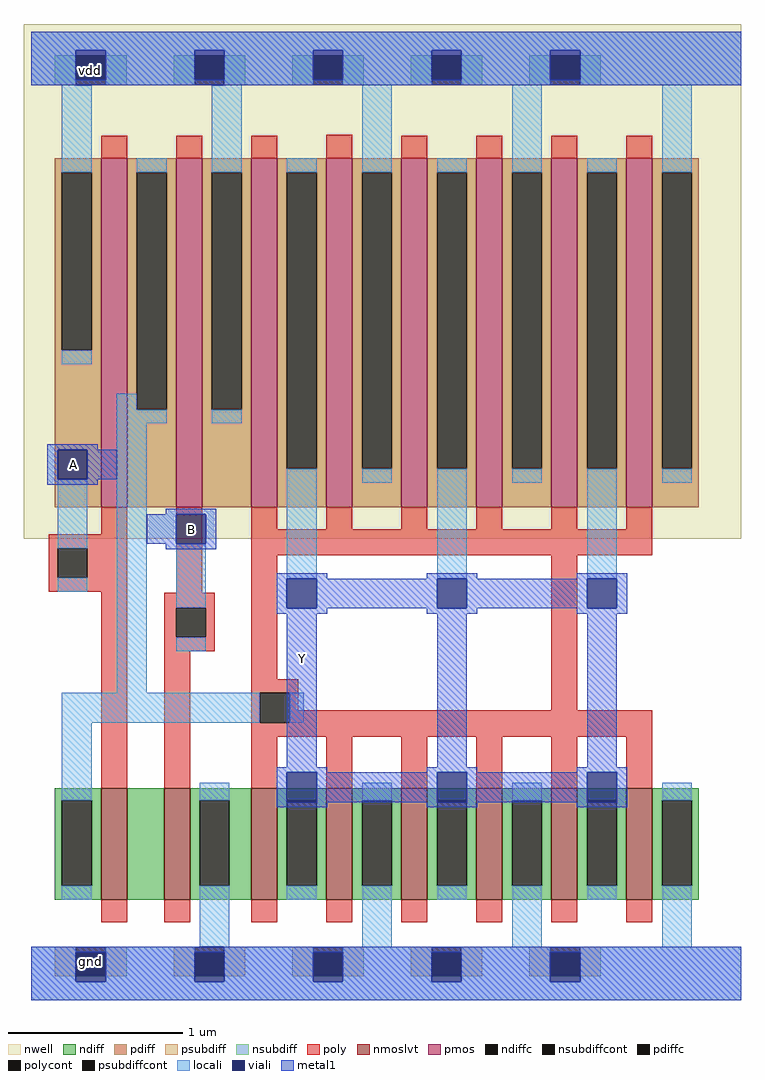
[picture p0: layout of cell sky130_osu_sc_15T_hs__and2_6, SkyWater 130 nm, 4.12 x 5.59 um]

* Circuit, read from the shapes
.subckt sky130_osu_sc_15T_hs__and2_6 B A Y
XM1 n1 A n2 gnd sky130_fd_pr__nfet_01v8_lvt w=0.64 l=0.15
XM2 gnd B n1 gnd sky130_fd_pr__nfet_01v8_lvt w=0.64 l=0.15
XM3 Y n2 gnd gnd sky130_fd_pr__nfet_01v8_lvt w=0.64 l=0.15 m=6
XM4 n2 A vdd vdd sky130_fd_pr__pfet_01v8 w=2 l=0.15
XM5 vdd B n2 vdd sky130_fd_pr__pfet_01v8 w=2 l=0.15
XM6 Y n2 vdd vdd sky130_fd_pr__pfet_01v8 w=2 l=0.15 m=6
.ends

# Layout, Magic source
magic
tech sky130A
magscale 1 2
<< nwell >>
rect -9 529 814 1119
<< pmos >>
rect 80 565 110 965
rect 166 565 196 965
rect 252 565 282 965
rect 338 565 368 965
rect 424 565 454 965
rect 510 565 540 965
rect 596 565 626 965
rect 682 565 712 965
<< nmoslvt >>
rect 80 115 110 243
rect 152 115 182 243
rect 252 115 282 243
rect 338 115 368 243
rect 424 115 454 243
rect 510 115 540 243
rect 596 115 626 243
rect 682 115 712 243
<< ndiff >>
rect 27 229 80 243
rect 27 131 35 229
rect 69 131 80 229
rect 27 115 80 131
rect 110 115 152 243
rect 182 229 252 243
rect 182 131 193 229
rect 227 131 252 229
rect 182 115 252 131
rect 282 229 338 243
rect 282 131 293 229
rect 327 131 338 229
rect 282 115 338 131
rect 368 229 424 243
rect 368 131 379 229
rect 413 131 424 229
rect 368 115 424 131
rect 454 229 510 243
rect 454 131 465 229
rect 499 131 510 229
rect 454 115 510 131
rect 540 229 596 243
rect 540 131 551 229
rect 585 131 596 229
rect 540 115 596 131
rect 626 229 682 243
rect 626 131 637 229
rect 671 131 682 229
rect 626 115 682 131
rect 712 229 765 243
rect 712 131 723 229
rect 757 131 765 229
rect 712 115 765 131
<< pdiff >>
rect 27 949 80 965
rect 27 745 35 949
rect 69 745 80 949
rect 27 565 80 745
rect 110 949 166 965
rect 110 677 121 949
rect 155 677 166 949
rect 110 565 166 677
rect 196 949 252 965
rect 196 677 207 949
rect 241 677 252 949
rect 196 565 252 677
rect 282 949 338 965
rect 282 609 293 949
rect 327 609 338 949
rect 282 565 338 609
rect 368 949 424 965
rect 368 609 379 949
rect 413 609 424 949
rect 368 565 424 609
rect 454 949 510 965
rect 454 609 465 949
rect 499 609 510 949
rect 454 565 510 609
rect 540 949 596 965
rect 540 609 551 949
rect 585 609 596 949
rect 540 565 596 609
rect 626 949 682 965
rect 626 609 637 949
rect 671 609 682 949
rect 626 565 682 609
rect 712 949 765 965
rect 712 609 723 949
rect 757 609 765 949
rect 712 565 765 609
<< ndiffc >>
rect 35 131 69 229
rect 193 131 227 229
rect 293 131 327 229
rect 379 131 413 229
rect 465 131 499 229
rect 551 131 585 229
rect 637 131 671 229
rect 723 131 757 229
<< pdiffc >>
rect 35 745 69 949
rect 121 677 155 949
rect 207 677 241 949
rect 293 609 327 949
rect 379 609 413 949
rect 465 609 499 949
rect 551 609 585 949
rect 637 609 671 949
rect 723 609 757 949
<< psubdiff >>
rect 27 27 51 61
rect 85 27 109 61
rect 163 27 187 61
rect 221 27 245 61
rect 299 27 323 61
rect 357 27 381 61
rect 435 27 459 61
rect 493 27 517 61
rect 571 27 595 61
rect 629 27 653 61
<< nsubdiff >>
rect 27 1049 51 1083
rect 85 1049 109 1083
rect 163 1049 187 1083
rect 221 1049 245 1083
rect 299 1049 323 1083
rect 357 1049 381 1083
rect 435 1049 459 1083
rect 493 1049 517 1083
rect 571 1049 595 1083
rect 629 1049 653 1083
<< psubdiffcont >>
rect 51 27 85 61
rect 187 27 221 61
rect 323 27 357 61
rect 459 27 493 61
rect 595 27 629 61
<< nsubdiffcont >>
rect 51 1049 85 1083
rect 187 1049 221 1083
rect 323 1049 357 1083
rect 459 1049 493 1083
rect 595 1049 629 1083
<< poly >>
rect 80 965 110 991
rect 166 965 196 991
rect 252 965 282 991
rect 338 965 368 992
rect 424 965 454 991
rect 510 965 540 991
rect 596 965 626 991
rect 682 965 712 991
rect 80 534 110 565
rect 20 518 110 534
rect 20 484 30 518
rect 64 484 110 518
rect 20 468 110 484
rect 80 243 110 468
rect 166 467 196 565
rect 252 540 282 565
rect 338 540 368 565
rect 424 540 454 565
rect 510 540 540 565
rect 596 540 626 565
rect 682 540 712 565
rect 252 510 712 540
rect 152 450 210 467
rect 152 416 166 450
rect 200 416 210 450
rect 152 400 210 416
rect 152 243 182 400
rect 252 368 282 510
rect 252 352 306 368
rect 252 318 262 352
rect 296 332 306 352
rect 596 332 626 510
rect 296 318 712 332
rect 252 302 712 318
rect 252 243 282 302
rect 338 243 368 302
rect 424 243 454 302
rect 510 243 540 302
rect 596 243 626 302
rect 682 243 712 302
rect 80 89 110 115
rect 152 89 182 115
rect 252 89 282 115
rect 338 89 368 115
rect 424 89 454 115
rect 510 89 540 115
rect 596 89 626 115
rect 682 89 712 115
<< polycont >>
rect 30 484 64 518
rect 166 416 200 450
rect 262 318 296 352
<< locali >>
rect 0 1089 814 1110
rect 0 1049 51 1089
rect 85 1049 187 1089
rect 221 1049 323 1089
rect 357 1049 459 1089
rect 493 1049 595 1089
rect 629 1049 814 1089
rect 35 949 69 1049
rect 35 729 69 745
rect 121 949 155 965
rect 98 677 121 695
rect 98 661 155 677
rect 207 949 241 1049
rect 207 661 241 677
rect 293 949 327 965
rect 30 518 64 597
rect 30 468 64 484
rect 98 352 132 661
rect 166 450 200 523
rect 293 483 327 609
rect 379 949 413 1049
rect 379 593 413 609
rect 465 949 499 965
rect 465 483 499 609
rect 551 949 585 1049
rect 551 593 585 609
rect 637 949 671 965
rect 637 483 671 609
rect 723 949 757 1049
rect 723 593 757 609
rect 166 400 200 416
rect 35 318 262 352
rect 296 318 312 352
rect 35 229 69 318
rect 35 115 69 131
rect 193 229 227 249
rect 193 61 227 131
rect 293 115 327 131
rect 379 229 413 249
rect 379 61 413 131
rect 465 115 499 131
rect 551 229 585 249
rect 551 61 585 131
rect 637 115 671 131
rect 723 229 757 249
rect 723 61 757 131
rect 0 21 51 61
rect 85 21 187 61
rect 221 21 323 61
rect 357 21 459 61
rect 493 21 595 61
rect 629 21 814 61
rect 0 0 814 21
<< viali >>
rect 51 1083 85 1089
rect 51 1055 85 1083
rect 187 1083 221 1089
rect 187 1055 221 1083
rect 323 1083 357 1089
rect 323 1055 357 1083
rect 459 1083 493 1089
rect 459 1055 493 1083
rect 595 1083 629 1089
rect 595 1055 629 1083
rect 30 597 64 631
rect 166 523 200 557
rect 293 449 327 483
rect 465 449 499 483
rect 637 449 671 483
rect 293 229 327 261
rect 293 227 327 229
rect 465 229 499 261
rect 465 227 499 229
rect 637 229 671 261
rect 637 227 671 229
rect 51 27 85 55
rect 51 21 85 27
rect 187 27 221 55
rect 187 21 221 27
rect 323 27 357 55
rect 323 21 357 27
rect 459 27 493 55
rect 459 21 493 27
rect 595 27 629 55
rect 595 21 629 27
<< metal1 >>
rect 0 1089 814 1110
rect 0 1055 51 1089
rect 85 1055 187 1089
rect 221 1055 323 1089
rect 357 1055 459 1089
rect 493 1055 595 1089
rect 629 1055 814 1089
rect 0 1049 814 1055
rect 18 631 76 637
rect 18 597 30 631
rect 64 597 98 631
rect 18 591 76 597
rect 154 557 212 563
rect 132 523 166 557
rect 200 523 212 557
rect 154 517 212 523
rect 281 483 339 489
rect 453 483 511 489
rect 625 483 683 489
rect 281 449 293 483
rect 327 449 465 483
rect 499 449 637 483
rect 671 449 683 483
rect 281 443 339 449
rect 453 443 511 449
rect 625 443 683 449
rect 293 267 327 443
rect 465 267 499 443
rect 637 267 671 443
rect 281 261 339 267
rect 453 261 511 267
rect 625 261 683 267
rect 281 227 293 261
rect 327 227 465 261
rect 499 227 637 261
rect 671 227 683 261
rect 281 221 339 227
rect 453 221 511 227
rect 625 221 683 227
rect 0 55 814 61
rect 0 21 51 55
rect 85 21 187 55
rect 221 21 323 55
rect 357 21 459 55
rect 493 21 595 55
rect 629 21 814 55
rect 0 0 814 21
<< labels >>
rlabel viali 184 540 184 540 1 B
port 1 n
rlabel viali 48 614 48 614 1 A
port 2 n
rlabel metal1 311 392 311 392 1 Y
port 3 n
rlabel viali 68 44 68 44 1 gnd
rlabel viali 68 1066 68 1066 1 vdd
<< end >>
